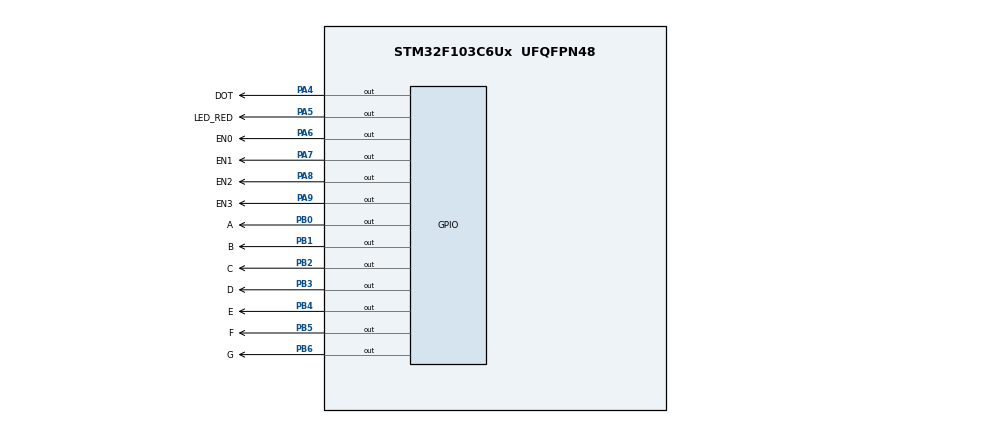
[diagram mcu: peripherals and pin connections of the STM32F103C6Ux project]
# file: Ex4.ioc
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Mcu.Family=STM32F1
Mcu.Name=STM32F103C6Ux
Mcu.Package=UFQFPN48
NVIC.PriorityGroup=NVIC_PRIORITYGROUP_4
NVIC.TIM2_IRQn=true\:0\:0\:false\:false\:true\:true\:true
PA4.GPIO_Label=DOT
PA4.Signal=GPIO_Output
PA5.GPIO_Label=LED_RED
PA5.Signal=GPIO_Output
PA6.GPIO_Label=EN0
PA6.Signal=GPIO_Output
PA7.GPIO_Label=EN1
PA7.Signal=GPIO_Output
PA8.GPIO_Label=EN2
PA8.Signal=GPIO_Output
PA9.GPIO_Label=EN3
PA9.Signal=GPIO_Output
PB0.GPIO_Label=A
PB0.Signal=GPIO_Output
PB1.GPIO_Label=B
PB1.Signal=GPIO_Output
PB2.GPIO_Label=C
PB2.Signal=GPIO_Output
PB3.GPIO_Label=D
PB3.Signal=GPIO_Output
PB4.GPIO_Label=E
PB4.Signal=GPIO_Output
PB5.GPIO_Label=F
PB5.Signal=GPIO_Output
PB6.GPIO_Label=G
PB6.Signal=GPIO_Output
ProjectManager.HeapSize=0x200
ProjectManager.StackSize=0x400
ProjectManager.TargetToolchain=STM32CubeIDE
RCC.APB1Freq_Value=8000000
RCC.APB2Freq_Value=8000000
TIM2.Period=9
TIM2.Prescaler=7999
VP_SYS_VS_ND.Mode=No_Debug
VP_TIM2_VS_ClockSourceINT.Mode=Internal
board=custom

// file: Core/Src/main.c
/* USER CODE BEGIN Header */
/**
  ******************************************************************************
  * @file           : main.c
  * @brief          : Main program body
  ******************************************************************************
  * @attention
  *
  * <h2><center>&copy; Copyright (c) 2022 STMicroelectronics.
  * All rights reserved.</center></h2>
  *
  * This software component is licensed by ST under BSD 3-Clause license,
  * the "License"; You may not use this file except in compliance with the
  * License. You may obtain a copy of the License at:
  *                        opensource.org/licenses/BSD-3-Clause
  *
  ******************************************************************************
  */
/* USER CODE END Header */
#include "main.h"

TIM_HandleTypeDef htim2;

void SystemClock_Config(void);
static void MX_TIM2_Init(void);
static void MX_GPIO_Init(void);

void display7SEG(int num)
{
	int seg[10]={0xC0, 0xF9, 0xA4, 0xB0, 0x99, 0x92, 0x82, 0xF8, 0x80, 0x90};
	HAL_GPIO_WritePin(GPIOB, A_Pin,((seg[num]>>0)&0x01));
	HAL_GPIO_WritePin(GPIOB, B_Pin,((seg[num]>>1)&0x01));
	HAL_GPIO_WritePin(GPIOB, C_Pin,((seg[num]>>2)&0x01));
	HAL_GPIO_WritePin(GPIOB, D_Pin,((seg[num]>>3)&0x01));
	HAL_GPIO_WritePin(GPIOB, E_Pin,((seg[num]>>4)&0x01));
	HAL_GPIO_WritePin(GPIOB, F_Pin,((seg[num]>>5)&0x01));
	HAL_GPIO_WritePin(GPIOB, G_Pin,((seg[num]>>6)&0x01));
}
int main(void)
{

  /* MCU Configuration--------------------------------------------------------*/

  /* Reset of all peripherals, Initializes the Flash interface and the Systick. */
  HAL_Init();

  /* Configure the system clock */
  SystemClock_Config();

  /* Initialize all configured peripherals */
  MX_TIM2_Init();
  MX_GPIO_Init();
  /* USER CODE BEGIN 2 */
  HAL_TIM_Base_Start_IT(&htim2);
  /* USER CODE END 2 */

  /* Infinite loop */
  while (1)
  {

  }
}

void SystemClock_Config(void)
{
  RCC_OscInitTypeDef RCC_OscInitStruct = {0};
  RCC_ClkInitTypeDef RCC_ClkInitStruct = {0};

  /** Initializes the RCC Oscillators according to the specified parameters
  * in the RCC_OscInitTypeDef structure.
  */
  RCC_OscInitStruct.OscillatorType = RCC_OSCILLATORTYPE_HSI;
  RCC_OscInitStruct.HSIState = RCC_HSI_ON;
  RCC_OscInitStruct.HSICalibrationValue = RCC_HSICALIBRATION_DEFAULT;
  RCC_OscInitStruct.PLL.PLLState = RCC_PLL_NONE;
  if (HAL_RCC_OscConfig(&RCC_OscInitStruct) != HAL_OK)
  {
    Error_Handler();
  }
  /** Initializes the CPU, AHB and APB buses clocks
  */
  RCC_ClkInitStruct.ClockType = RCC_CLOCKTYPE_HCLK|RCC_CLOCKTYPE_SYSCLK
                              |RCC_CLOCKTYPE_PCLK1|RCC_CLOCKTYPE_PCLK2;
  RCC_ClkInitStruct.SYSCLKSource = RCC_SYSCLKSOURCE_HSI;
  RCC_ClkInitStruct.AHBCLKDivider = RCC_SYSCLK_DIV1;
  RCC_ClkInitStruct.APB1CLKDivider = RCC_HCLK_DIV1;
  RCC_ClkInitStruct.APB2CLKDivider = RCC_HCLK_DIV1;

  if (HAL_RCC_ClockConfig(&RCC_ClkInitStruct, FLASH_LATENCY_0) != HAL_OK)
  {
    Error_Handler();
  }
}

static void MX_TIM2_Init(void)
{

  TIM_ClockConfigTypeDef sClockSourceConfig = {0};
  TIM_MasterConfigTypeDef sMasterConfig = {0};

  htim2.Instance = TIM2;
  htim2.Init.Prescaler = 7999;
  htim2.Init.CounterMode = TIM_COUNTERMODE_UP;
  htim2.Init.Period = 9;
  htim2.Init.ClockDivision = TIM_CLOCKDIVISION_DIV1;
  htim2.Init.AutoReloadPreload = TIM_AUTORELOAD_PRELOAD_DISABLE;
  if (HAL_TIM_Base_Init(&htim2) != HAL_OK)
  {
    Error_Handler();
  }
  sClockSourceConfig.ClockSource = TIM_CLOCKSOURCE_INTERNAL;
  if (HAL_TIM_ConfigClockSource(&htim2, &sClockSourceConfig) != HAL_OK)
  {
    Error_Handler();
  }
  sMasterConfig.MasterOutputTrigger = TIM_TRGO_RESET;
  sMasterConfig.MasterSlaveMode = TIM_MASTERSLAVEMODE_DISABLE;
  if (HAL_TIMEx_MasterConfigSynchronization(&htim2, &sMasterConfig) != HAL_OK)
  {
    Error_Handler();
  }

}

static void MX_GPIO_Init(void)
{
  GPIO_InitTypeDef GPIO_InitStruct = {0};

  /* GPIO Ports Clock Enable */
  __HAL_RCC_GPIOA_CLK_ENABLE();
  __HAL_RCC_GPIOB_CLK_ENABLE();

  /*Configure GPIO pin Output Level */
  HAL_GPIO_WritePin(GPIOA, DOT_Pin|LED_RED_Pin|EN0_Pin|EN1_Pin
                          |EN2_Pin|EN3_Pin, GPIO_PIN_RESET);

  /*Configure GPIO pin Output Level */
  HAL_GPIO_WritePin(GPIOB, A_Pin|B_Pin|C_Pin|D_Pin
                          |E_Pin|F_Pin|G_Pin, GPIO_PIN_RESET);

  /*Configure GPIO pins : DOT_Pin LED_RED_Pin EN0_Pin EN1_Pin
                           EN2_Pin EN3_Pin */
  GPIO_InitStruct.Pin = DOT_Pin|LED_RED_Pin|EN0_Pin|EN1_Pin
                          |EN2_Pin|EN3_Pin;
  GPIO_InitStruct.Mode = GPIO_MODE_OUTPUT_PP;
  GPIO_InitStruct.Pull = GPIO_NOPULL;
  GPIO_InitStruct.Speed = GPIO_SPEED_FREQ_LOW;
  HAL_GPIO_Init(GPIOA, &GPIO_InitStruct);

  /*Configure GPIO pins : A_Pin B_Pin C_Pin D_Pin
                           E_Pin F_Pin G_Pin */
  GPIO_InitStruct.Pin = A_Pin|B_Pin|C_Pin|D_Pin
                          |E_Pin|F_Pin|G_Pin;
  GPIO_InitStruct.Mode = GPIO_MODE_OUTPUT_PP;
  GPIO_InitStruct.Pull = GPIO_NOPULL;
  GPIO_InitStruct.Speed = GPIO_SPEED_FREQ_LOW;
  HAL_GPIO_Init(GPIOB, &GPIO_InitStruct);

}

/* USER CODE BEGIN 4 */
 const int MAX_LED = 4;
 int index_led = 0;
 int led_buffer [4] = {1, 2, 3, 4};
 int seg;
 int count=25;
 int led=4;
 void update7SEG ( int index ){
	 switch ( index ){
	 case 0:
		 HAL_GPIO_WritePin(GPIOA, EN0_Pin,RESET);
		 HAL_GPIO_WritePin(GPIOA, EN1_Pin,SET);
		 HAL_GPIO_WritePin(GPIOA, EN2_Pin,SET);
		 HAL_GPIO_WritePin(GPIOA, EN3_Pin,SET);
		 seg=1;
		 display7SEG(seg);
		 break ;
	 case 1:
		 HAL_GPIO_WritePin(GPIOA, EN0_Pin,SET);
		 HAL_GPIO_WritePin(GPIOA, EN1_Pin,RESET);
		 HAL_GPIO_WritePin(GPIOA, EN2_Pin,SET);
		 HAL_GPIO_WritePin(GPIOA, EN3_Pin,SET);
		 seg=2;
		 display7SEG(seg);
		 break ;
	 case 2:
		 HAL_GPIO_WritePin(GPIOA, EN0_Pin,SET);
		 HAL_GPIO_WritePin(GPIOA, EN1_Pin,SET);
		 HAL_GPIO_WritePin(GPIOA, EN2_Pin,RESET);
		 HAL_GPIO_WritePin(GPIOA, EN3_Pin,SET);
		 seg=3;
		 display7SEG(seg);
		 break ;
	 case 3:
		 HAL_GPIO_WritePin(GPIOA, EN0_Pin,SET);
		 HAL_GPIO_WritePin(GPIOA, EN1_Pin,SET);
		 HAL_GPIO_WritePin(GPIOA, EN2_Pin,SET);
		 HAL_GPIO_WritePin(GPIOA, EN3_Pin,RESET);
		 seg=0;
		 display7SEG(seg);
		 break ;
	 default :
		 break ;
	 }
 }
void HAL_TIM_PeriodElapsedCallback(TIM_HandleTypeDef *htim)
{
	if(count==25)
		{
			update7SEG(index_led++);
			if(led==4) HAL_GPIO_WritePin(GPIOA, DOT_Pin,RESET);
		}
	count--;
	if(count<=0){
		count=25;
		if(led==4) HAL_GPIO_WritePin(GPIOA, DOT_Pin,SET);
		led--;
		if(led<=0)led=4;
	}
	if(index_led>=MAX_LED) index_led=0;
}
/* USER CODE END 4 */

void Error_Handler(void)
{
  __disable_irq();
  while (1)
  {
  }
}

/************************ (C) COPYRIGHT STMicroelectronics *****END OF FILE****/
